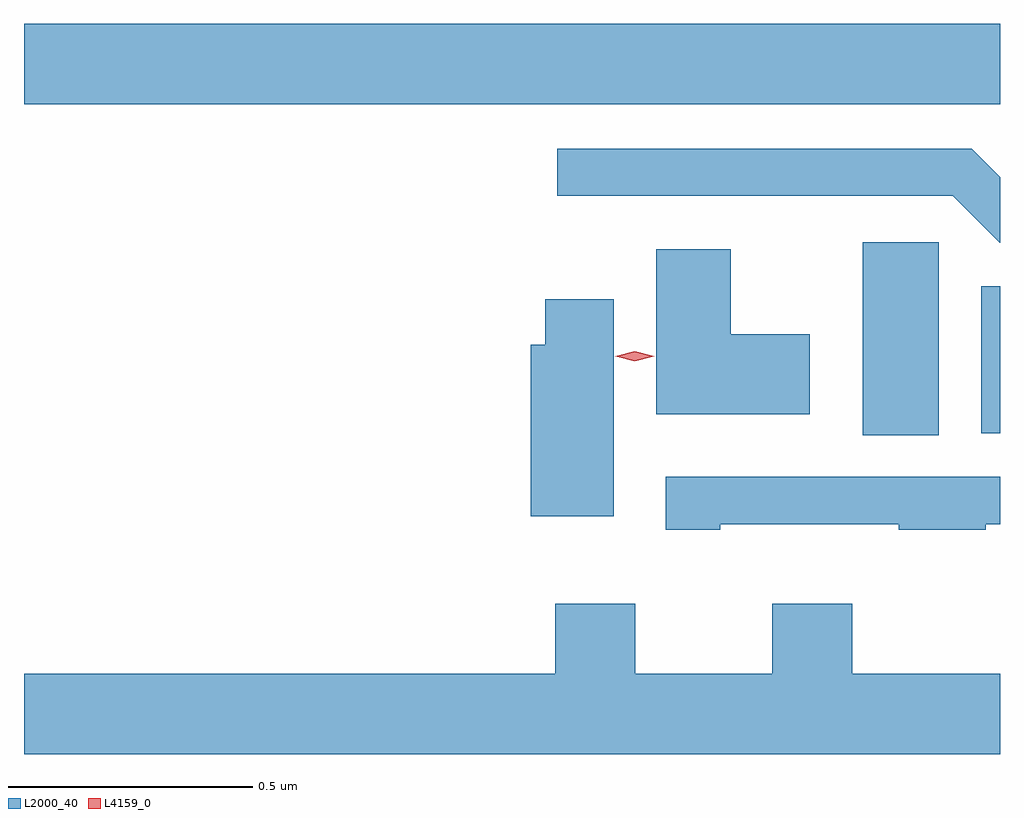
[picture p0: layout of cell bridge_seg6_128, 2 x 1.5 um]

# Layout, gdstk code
import gdstk
lib = gdstk.Library(unit=1e-6, precision=1e-09)
def R(c, l, rs):  # rectangles x0, y0, x1, y1
    for r in rs: c.add(gdstk.rectangle(r[:2], r[2:], *l))
def P(c, l, *ps):  # polygons
    for p in ps: c.add(gdstk.Polygon(p, *l))
L2000_40 = (2000, 40)
L4159_0 = (4159, 0)

bridge_seg6_128 = lib.new_cell('bridge_seg6_128')
R(bridge_seg6_128, L2000_40, [(451.043,981.289,451.198,981.685), (451.286,981.293,451.324,981.595), (449.324,981.968,451.324,982.132)])
P(bridge_seg6_128, L2000_40, [(451.324,981.818),(451.266,981.876),(450.417,981.876),(450.417,981.78),(451.227,981.78),(451.323,981.684),(451.324,981.684)],
  [(450.934,981.496),(450.772,981.496),(450.772,981.67),(450.62,981.67),(450.62,981.332),(450.934,981.332)],
  [(450.532,981.568),(450.392,981.568),(450.392,981.475),(450.362,981.475),(450.362,981.123),(450.532,981.123)],
  [(450.751,981.107),(451.117,981.107),(451.117,981.096),(451.295,981.096),(451.295,981.107),(451.324,981.107),(451.324,981.204),(450.639,981.204),(450.639,981.096),(450.751,981.096)],
  [(451.324,980.8),(451.021,980.8),(451.021,980.944),(450.857,980.944),(450.857,980.8),(450.577,980.8),(450.577,980.944),(450.413,980.944),(450.413,980.8),(449.324,980.8),(449.324,980.636),(451.324,980.636)])
P(bridge_seg6_128, L4159_0, [(450.576,981.441),(450.536,981.451),(450.536,981.451),(450.536,981.451),(450.576,981.461),(450.616,981.451),(450.616,981.451),(450.616,981.451)])

lib.write_gds('bridge_seg6_128.gds')
